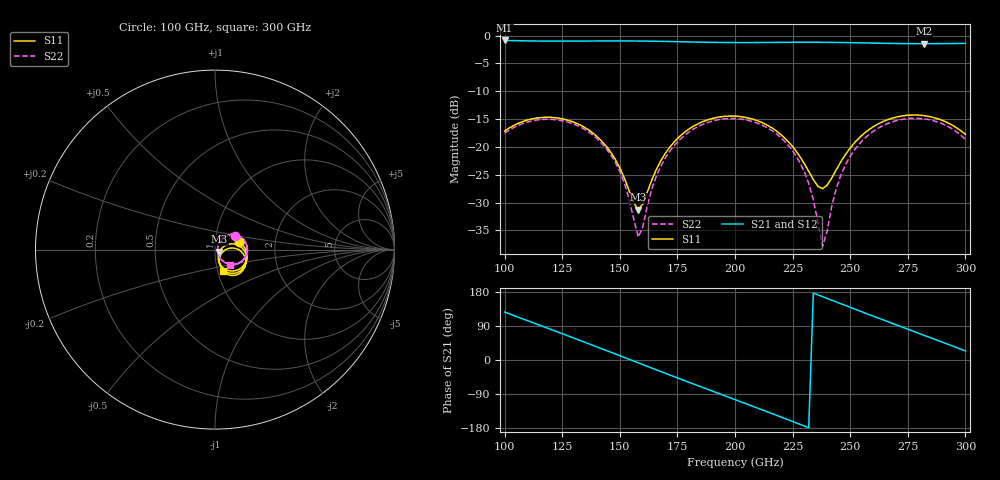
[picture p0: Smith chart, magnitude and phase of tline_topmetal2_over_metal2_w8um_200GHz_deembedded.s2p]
! Created with skrf 2.0.1 (http://scikit-rf.org).
# GHz S DB R 50.0
!freq dBS11 angS11 dBS21 angS21 dBS12 angS12 dBS22 angS22
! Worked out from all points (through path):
!   101 points, 100 GHz to 300 GHz, reference 50 ohm
!   highest |S21| = -0.88 dB at 100 GHz (marker M1); lowest = -1.5 dB at 282 GHz (marker M2)
!   group delay of S21, straight-line fit = 6.44 ps
!   lowest |S11| = -31.3 dB at 158 GHz (marker M3), VSWR 1.06, Z = 52.5 - j1.28 ohm
!   |S11| at or under -10 dB: start of sweep to end of sweep
!   |S22| runs from -37.8 to -14.8 dB; largest |S21 - S12| = 9.9e-14
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100  -17.15 17.1  -0.88 126.6  -0.88 126.6  -17.54 33.8
116  -14.72 -15.3  -0.98 89.9  -0.98 89.9  -15.08 2.8
124  -14.87 -31.7  -1.00 71.7  -1.00 71.7  -15.22 -13.0
134  -16.32 -51.5  -0.98 48.7  -0.98 48.7  -16.68 -32.7
148  -22.22 -71.9  -0.96 16.1  -0.96 16.1  -22.75 -56.2
152  -25.62 -70.0  -0.96 6.7  -0.96 6.7  -26.53 -58.0
158  -31.27 -26.6  -0.98 -7.4  -0.98 -7.4  -36.21 -9.4
168  -22.34 22.0  -1.04 -30.9  -1.04 -30.9  -23.29 55.6
174  -18.93 15.9  -1.09 -44.9  -1.09 -44.9  -19.58 47.3
184  -15.84 -1.1  -1.17 -68.0  -1.17 -68.0  -16.34 28.8
200  -14.47 -31.7  -1.25 -104.6  -1.25 -104.6  -14.91 -3.2
210  -15.34 -50.3  -1.24 -127.4  -1.24 -127.4  -15.78 -23.5
222  -18.57 -68.6  -1.21 -155.2  -1.21 -155.2  -19.17 -46.9
230  -22.94 -70.4  -1.20 -174.0  -1.20 -174.0  -24.39 -58.9
234  -25.88 -59.2  -1.20 176.6  -1.20 176.6  -29.48 -57.7
238  -27.50 -31.7  -1.21 167.2  -1.21 167.2  -37.83 -9.1
244  -24.07 1.0  -1.23 153.1  -1.23 153.1  -27.40 60.9
248  -21.33 5.5  -1.26 143.7  -1.26 143.7  -23.17 58.9
256  -17.59 -0.4  -1.32 125.0  -1.32 125.0  -18.58 45.7
268  -14.86 -19.1  -1.41 97.3  -1.41 97.3  -15.53 21.6
282  -14.38 -43.4  -1.45 65.3  -1.45 65.3  -14.95 -7.7
300  -17.74 -69.1  -1.41 23.8  -1.41 23.8  -18.64 -45.7
